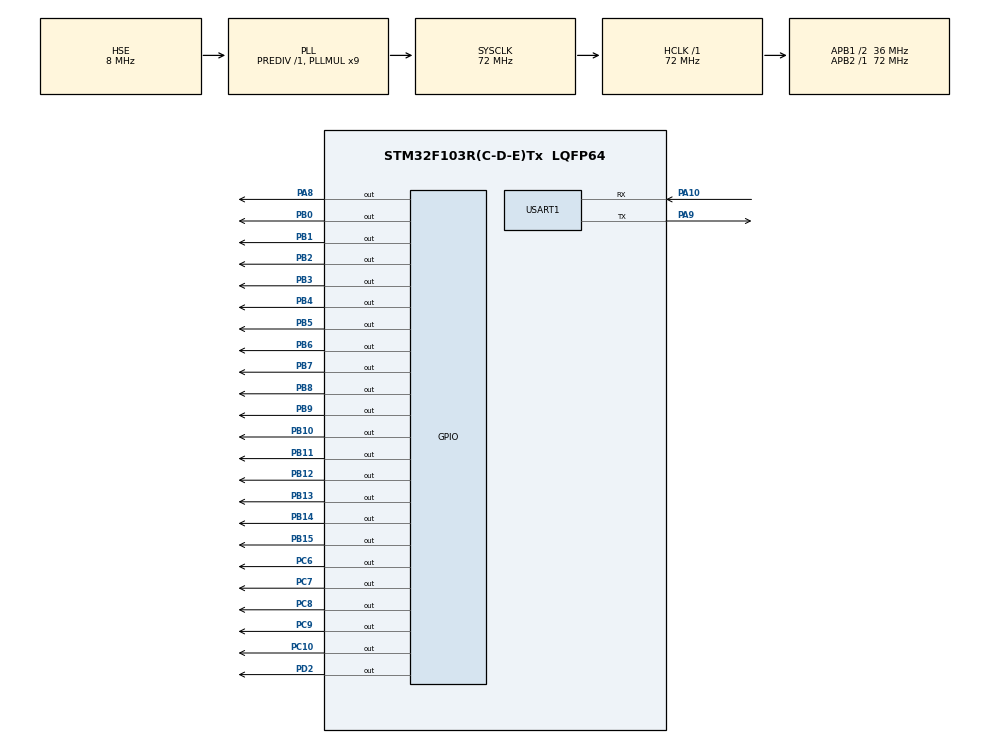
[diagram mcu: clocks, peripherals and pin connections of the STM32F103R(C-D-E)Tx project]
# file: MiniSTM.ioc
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Mcu.Family=STM32F1
Mcu.Name=STM32F103R(C-D-E)Tx
Mcu.Package=LQFP64
NVIC.PriorityGroup=NVIC_PRIORITYGROUP_4
PA10.Mode=Asynchronous
PA10.Signal=USART1_RX
PA13.Mode=Serial_Wire
PA13.Signal=SYS_JTMS-SWDIO
PA14.Mode=Serial_Wire
PA14.Signal=SYS_JTCK-SWCLK
PA8.GPIO_PuPd=GPIO_PULLUP
PA8.Signal=GPIO_Output
PA9.Mode=Asynchronous
PA9.Signal=USART1_TX
PB0.GPIO_PuPd=GPIO_PULLUP
PB0.GPIO_Speed=GPIO_SPEED_FREQ_HIGH
PB0.Signal=GPIO_Output
PB1.GPIO_PuPd=GPIO_PULLUP
PB1.GPIO_Speed=GPIO_SPEED_FREQ_HIGH
PB1.Signal=GPIO_Output
PB10.GPIO_PuPd=GPIO_PULLUP
PB10.GPIO_Speed=GPIO_SPEED_FREQ_HIGH
PB10.Signal=GPIO_Output
PB11.GPIO_PuPd=GPIO_PULLUP
PB11.GPIO_Speed=GPIO_SPEED_FREQ_HIGH
PB11.Signal=GPIO_Output
PB12.GPIO_PuPd=GPIO_PULLUP
PB12.GPIO_Speed=GPIO_SPEED_FREQ_HIGH
PB12.Signal=GPIO_Output
PB13.GPIO_PuPd=GPIO_PULLUP
PB13.GPIO_Speed=GPIO_SPEED_FREQ_HIGH
PB13.Signal=GPIO_Output
PB14.GPIO_PuPd=GPIO_PULLUP
PB14.GPIO_Speed=GPIO_SPEED_FREQ_HIGH
PB14.Signal=GPIO_Output
PB15.GPIO_PuPd=GPIO_PULLUP
PB15.GPIO_Speed=GPIO_SPEED_FREQ_HIGH
PB15.Signal=GPIO_Output
PB2.GPIO_PuPd=GPIO_PULLUP
PB2.GPIO_Speed=GPIO_SPEED_FREQ_HIGH
PB2.Signal=GPIO_Output
PB3.GPIO_PuPd=GPIO_PULLUP
PB3.GPIO_Speed=GPIO_SPEED_FREQ_HIGH
PB3.Signal=GPIO_Output
PB4.GPIO_PuPd=GPIO_PULLUP
PB4.GPIO_Speed=GPIO_SPEED_FREQ_HIGH
PB4.Signal=GPIO_Output
PB5.GPIO_PuPd=GPIO_PULLUP
PB5.GPIO_Speed=GPIO_SPEED_FREQ_HIGH
PB5.Signal=GPIO_Output
PB6.GPIO_PuPd=GPIO_PULLUP
PB6.GPIO_Speed=GPIO_SPEED_FREQ_HIGH
PB6.Signal=GPIO_Output
PB7.GPIO_PuPd=GPIO_PULLUP
PB7.GPIO_Speed=GPIO_SPEED_FREQ_HIGH
PB7.Signal=GPIO_Output
PB8.GPIO_PuPd=GPIO_PULLUP
PB8.GPIO_Speed=GPIO_SPEED_FREQ_HIGH
PB8.Signal=GPIO_Output
PB9.GPIO_PuPd=GPIO_PULLUP
PB9.GPIO_Speed=GPIO_SPEED_FREQ_HIGH
PB9.Signal=GPIO_Output
PC10.GPIO_PuPd=GPIO_PULLUP
PC10.GPIO_Speed=GPIO_SPEED_FREQ_HIGH
PC10.Signal=GPIO_Output
PC14-OSC32_IN.Mode=LSE-External-Oscillator
PC14-OSC32_IN.Signal=RCC_OSC32_IN
PC15-OSC32_OUT.Mode=LSE-External-Oscillator
PC15-OSC32_OUT.Signal=RCC_OSC32_OUT
PC6.GPIO_PuPd=GPIO_PULLUP
PC6.GPIO_Speed=GPIO_SPEED_FREQ_HIGH
PC6.Signal=GPIO_Output
PC7.GPIO_PuPd=GPIO_PULLUP
PC7.GPIO_Speed=GPIO_SPEED_FREQ_HIGH
PC7.Signal=GPIO_Output
PC8.GPIO_PuPd=GPIO_PULLUP
PC8.GPIO_Speed=GPIO_SPEED_FREQ_HIGH
PC8.Signal=GPIO_Output
PC9.GPIO_PuPd=GPIO_PULLUP
PC9.GPIO_Speed=GPIO_SPEED_FREQ_HIGH
PC9.Signal=GPIO_Output
PD0-OSC_IN.Mode=HSE-External-Oscillator
PD0-OSC_IN.Signal=RCC_OSC_IN
PD1-OSC_OUT.Mode=HSE-External-Oscillator
PD1-OSC_OUT.Signal=RCC_OSC_OUT
PD2.GPIO_PuPd=GPIO_PULLUP
PD2.Signal=GPIO_Output
ProjectManager.HeapSize=0x200
ProjectManager.StackSize=0x400
ProjectManager.TargetToolchain=MDK-ARM V5.32
RCC.AHBFreq_Value=72000000
RCC.APB1CLKDivider=RCC_HCLK_DIV2
RCC.APB1Freq_Value=36000000
RCC.APB1TimFreq_Value=72000000
RCC.APB2Freq_Value=72000000
RCC.APB2TimFreq_Value=72000000
RCC.HCLKFreq_Value=72000000
RCC.PLLMUL=RCC_PLL_MUL9
RCC.PLLSourceVirtual=RCC_PLLSOURCE_HSE
RCC.SYSCLKFreq_VALUE=72000000
RCC.SYSCLKSource=RCC_SYSCLKSOURCE_PLLCLK
RCC.USBFreq_Value=72000000
USART1.VirtualMode=VM_ASYNC
board=custom

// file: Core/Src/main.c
/* USER CODE BEGIN Header */
/**
 ******************************************************************************
 * @file           : main.c
 * @brief          : Main program body
 ******************************************************************************
 * @attention
 *
 * Copyright (c) 2022 STMicroelectronics.
 * All rights reserved.
 *
 * This software is licensed under terms that can be found in the LICENSE file
 * in the root directory of this software component.
 * If no LICENSE file comes with this software, it is provided AS-IS.
 *
 ******************************************************************************
 */
/* USER CODE END Header */
#include "main.h"
#include "usart.h"
#include "gpio.h"

/* USER CODE BEGIN Includes */
#include "led.h"
#include "lcd.h"
#include "uart.h"
/* USER CODE END Includes */

void SystemClock_Config(void);

int main(void)
{
	/* USER CODE BEGIN 1 */
  uint8_t x = 0;      // Color index
  uint8_t lcd_id[12]; // LCD ID
                      /* USER CODE END 1 */

  /* MCU Configuration--------------------------------------------------------*/

	/* Reset of all peripherals, Initializes the Flash interface and the Systick. */
	HAL_Init();

	/* Configure the system clock */
	SystemClock_Config();

	/* Initialize all configured peripherals */
	MX_GPIO_Init();
	MX_USART1_UART_Init();
	/* USER CODE BEGIN 2 */
  LCD_Init();                                        // Initialize LCD
  POINT_COLOR = RED;                                 // Set font color
  sprintf((char *)lcd_id, "LCD ID:%04X", lcddev.id); // Get LCD ID
  /* USER CODE END 2 */

  /* Infinite loop */
  /* USER CODE BEGIN WHILE */
  while (1)
  {
    switch (x) // Change background color
    {
    case 0:
      LCD_Clear(WHITE);
      break;
    case 1:
      LCD_Clear(BLACK);
      break;
    case 2:
      LCD_Clear(BLUE);
      break;
    case 3:
      LCD_Clear(RED);
      break;
    case 4:
      LCD_Clear(MAGENTA);
      break;
    case 5:
      LCD_Clear(GREEN);
      break;
    case 6:
      LCD_Clear(CYAN);
      break;
    case 7:
      LCD_Clear(YELLOW);
      break;
    case 8:
      LCD_Clear(BRRED);
      break;
    case 9:
      LCD_Clear(GRAY);
      break;
    case 10:
      LCD_Clear(LGRAY);
      break;
    case 11:
      LCD_Clear(BROWN);
      break;
    }
    POINT_COLOR = RED;                                     // Set font color
    LCD_ShowString(30, 40, 200, 24, 24, "Mini STM32 ^_^"); // Show title
    LCD_ShowString(30, 70, 200, 16, 16, "TFTLCD TEST");    // Show test
    LCD_ShowString(30, 90, 200, 16, 16, "ATOM@ALIENTEK");  // Show author
    LCD_ShowString(30, 110, 200, 16, 16, lcd_id);          // Show LCD ID
    LCD_ShowString(30, 130, 200, 12, 12, "2019/11/15");    // Show date
    x++;                                                   // Change color index
    if (x == 12)                                           // Reset color index
      x = 0;
    LED0 = !LED0;    // Toggle LED0
    HAL_Delay(1000); // Delay 1s
    /* USER CODE END WHILE */

  }
}

void SystemClock_Config(void)
{
	RCC_OscInitTypeDef RCC_OscInitStruct = {0};
	RCC_ClkInitTypeDef RCC_ClkInitStruct = {0};

	/** Initializes the RCC Oscillators according to the specified parameters
	 * in the RCC_OscInitTypeDef structure.
	 */
	RCC_OscInitStruct.OscillatorType = RCC_OSCILLATORTYPE_HSE;
	RCC_OscInitStruct.HSEState = RCC_HSE_ON;
	RCC_OscInitStruct.HSEPredivValue = RCC_HSE_PREDIV_DIV1;
	RCC_OscInitStruct.HSIState = RCC_HSI_ON;
	RCC_OscInitStruct.PLL.PLLState = RCC_PLL_ON;
	RCC_OscInitStruct.PLL.PLLSource = RCC_PLLSOURCE_HSE;
	RCC_OscInitStruct.PLL.PLLMUL = RCC_PLL_MUL9;
	if (HAL_RCC_OscConfig(&RCC_OscInitStruct) != HAL_OK)
	{
		Error_Handler();
	}

	/** Initializes the CPU, AHB and APB buses clocks
	 */
	RCC_ClkInitStruct.ClockType = RCC_CLOCKTYPE_HCLK | RCC_CLOCKTYPE_SYSCLK | RCC_CLOCKTYPE_PCLK1 | RCC_CLOCKTYPE_PCLK2;
	RCC_ClkInitStruct.SYSCLKSource = RCC_SYSCLKSOURCE_PLLCLK;
	RCC_ClkInitStruct.AHBCLKDivider = RCC_SYSCLK_DIV1;
	RCC_ClkInitStruct.APB1CLKDivider = RCC_HCLK_DIV2;
	RCC_ClkInitStruct.APB2CLKDivider = RCC_HCLK_DIV1;

	if (HAL_RCC_ClockConfig(&RCC_ClkInitStruct, FLASH_LATENCY_2) != HAL_OK)
	{
		Error_Handler();
	}
}

void Error_Handler(void)
{
	__disable_irq();
	while (1)
	{
	}
}
